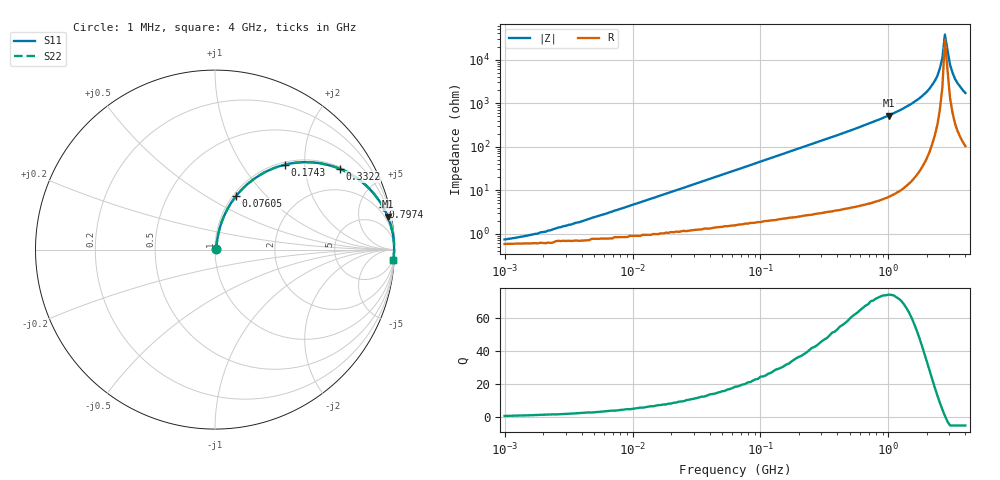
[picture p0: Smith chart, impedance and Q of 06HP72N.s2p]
# MHz S MA R 50
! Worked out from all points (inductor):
!   181 points, 1 MHz to 4 GHz, reference 50 ohm
!   read as one part in series: L = 72.2 nH near 5.253 MHz
!   highest Q = 74.2 at 1.004 GHz (marker M1), where L = 82.6 nH
!   self-resonance near 2.767 GHz
!   S11 on the Smith chart (normalised r, x): 1 MHz: 1.01, +0.01; 76.05 MHz: 1.03, +0.69; 174.3 MHz: 1.05, +1.58; 332.2 MHz: 1.07, +3.05; 797.4 MHz: 1.10, +7.85; 4 GHz: 3, -35
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1  0.007197 38.4  0.994 -0.3  0.994 -0.3  0.007197 38.4
2.09  0.011 55.8  0.994 -0.5  0.994 -0.5  0.011 55.8
4.172  0.02 68.1  0.993 -1.1  0.993 -1.1  0.02 68.1
16.623  0.075 78.1  0.987 -4.3  0.987 -4.3  0.075 78.1
63.246  0.272 71.1  0.948 -15.7  0.948 -15.7  0.272 71.1
76.046  0.321 68.5  0.931 -18.7  0.931 -18.7  0.321 68.5
174.294  0.612 50.6  0.773 -37.7  0.773 -37.7  0.612 50.6
263.867  0.761 39.1  0.631 -49.5  0.631 -49.5  0.761 39.1
332.232  0.828 32.9  0.543 -55.9  0.543 -55.9  0.828 32.9
797.369  0.966 14.2  0.246 -75.0  0.246 -75.0  0.966 14.2
1003.961  0.98 10.8  0.188 -78.4  0.188 -78.4  0.98 10.8
1666.643  0.995 4.9  0.085 -84.0  0.085 -84.0  0.995 4.9
2003.957  0.997 3.1  0.054 -85.2  0.054 -85.2  0.997 3.1
2197.411  0.998 2.2  0.038 -85.3  0.038 -85.3  0.998 2.2
2409.54  0.998 1.4  0.024 -84.4  0.024 -84.4  0.998 1.4
2523.164  0.998 0.9  0.016 -82.7  0.016 -82.7  0.998 0.9
2642.147  0.998 0.5  0.009165 -77.4  0.009165 -77.4  0.998 0.5
2766.741  0.998 0.1  0.002628 -39.9  0.002628 -39.9  0.998 0.1
3033.831  0.998 -0.7  0.013 79.3  0.013 79.3  0.998 -0.7
3176.894  0.997 -1.2  0.02 82.0  0.02 82.0  0.997 -1.2
3483.579  0.997 -2.0  0.035 83.5  0.035 83.5  0.997 -2.0
4000  0.995 -3.3  0.058 83.2  0.058 83.2  0.995 -3.3
